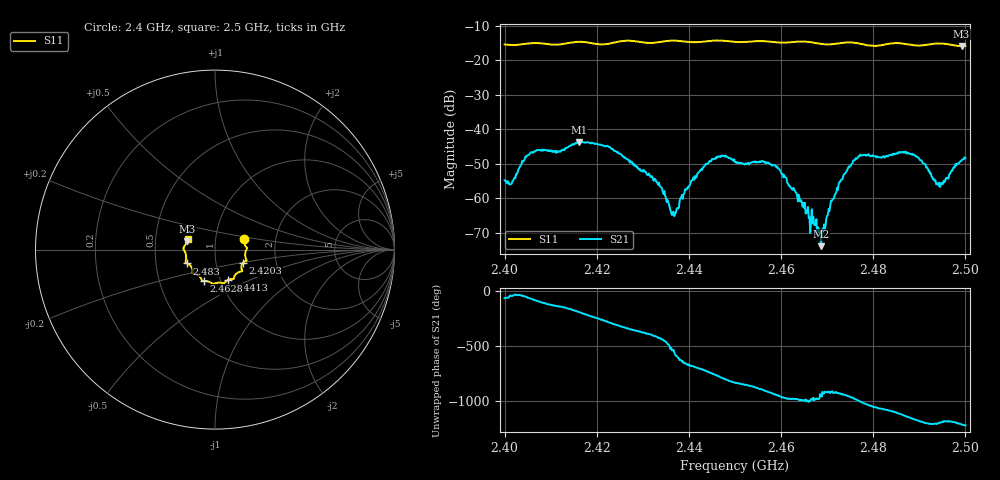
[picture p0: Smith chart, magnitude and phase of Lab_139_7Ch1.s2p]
# Hz S RI R 50
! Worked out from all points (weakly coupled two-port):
!   601 points, 2.4 GHz to 2.5 GHz, reference 50 ohm
!   highest |S21| = -43.68 dB at 2.4162 GHz (marker M1); lowest = -73.9 dB at 2.4687 GHz (marker M2)
!   lowest |S11| = -15.8 dB at 2.4992 GHz (marker M3), VSWR 1.39, Z = 36.5 + j3.53 ohm
!   |S11| at or under -10 dB: start of sweep to end of sweep
!   S12 and S22 are empty: the file has one direction only
!   S11 on the Smith chart (normalised r, x): 2.4 GHz: 1.37, +0.16; 2.4203 GHz: 1.35, -0.21; 2.4413 GHz: 1.09, -0.38; 2.4628 GHz: 0.83, -0.30; 2.483 GHz: 0.72, -0.11; 2.5 GHz: 0.73, +0.09
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2.4e9  0.1608 0.057  0.000832 -0.00161  0 0  0 0
2.406e9  0.178 0.00981  0.00133 -0.00442  0 0  0 0
2.416167e9  0.1768 -0.0606  -0.00645 0.00113  0 0  0 0
2.416667e9  0.1761 -0.0613  -0.00625 0.00195  0 0  0 0
2.420333e9  0.1554 -0.0741  -0.00208 0.00563  0 0  0 0
2.433333e9  0.1081 -0.1483  0.000645 -0.00142  0 0  0 0
2.436667e9  0.1038 -0.1637  -0.000636 -4.41e-05  0 0  0 0
2.441333e9  0.0744 -0.1681  0.00184 0.00103  0 0  0 0
2.446167e9  0.0495 -0.1886  0.00248 -0.003  0 0  0 0
2.45e9  0.0294 -0.1839  -0.00121 -0.00311  0 0  0 0
2.458667e9  -0.0275 -0.1821  -0.00241 0.00183  0 0  0 0
2.462833e9  -0.0628 -0.1749  -0.000271 0.00132  0 0  0 0
2.466667e9  -0.0742 -0.1676  -0.000135 0.000676  0 0  0 0
2.468667e9  -0.0821 -0.1535  -0.00013 0.000153  0 0  0 0
2.472667e9  -0.116 -0.1346  -0.00148 0.000864  0 0  0 0
2.475833e9  -0.1253 -0.1309  -0.000884 0.00343  0 0  0 0
2.483e9  -0.1549 -0.0769  0.00414 -2.53e-06  0 0  0 0
2.483333e9  -0.157 -0.0758  0.00417 -0.000241  0 0  0 0
2.489e9  -0.1607 -0.041  0.000175 -0.00421  0 0  0 0
2.494167e9  -0.1762 0.007  -0.000778 -0.00131  0 0  0 0
2.499167e9  -0.1547 0.0472  -0.00244 -0.00255  0 0  0 0
2.5e9  -0.1523 0.0585  -0.00302 -0.00241  0 0  0 0
